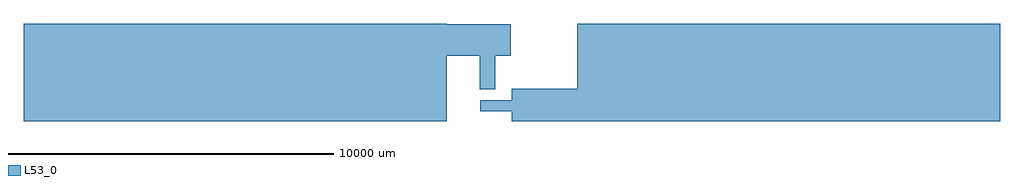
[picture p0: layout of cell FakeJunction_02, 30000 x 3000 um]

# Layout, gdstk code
import gdstk
lib = gdstk.Library(unit=1e-6, precision=1e-09)
def R(c, l, rs):  # rectangles x0, y0, x1, y1
    for r in rs: c.add(gdstk.rectangle(r[:2], r[2:], *l))
L53_0 = (53, 0)

fakejunction_02 = lib.new_cell('FakeJunction_02')
R(fakejunction_02, L53_0, [(-15000,-1500,-2000,1500), (-12,-1500,2024,-500), (2000,-1500,15000,1500), (-977,-1198,47,-849), (-989,-512,-512,547), (-2012,512,-35,1489)])

lib.write_gds('FakeJunction_02.gds')
